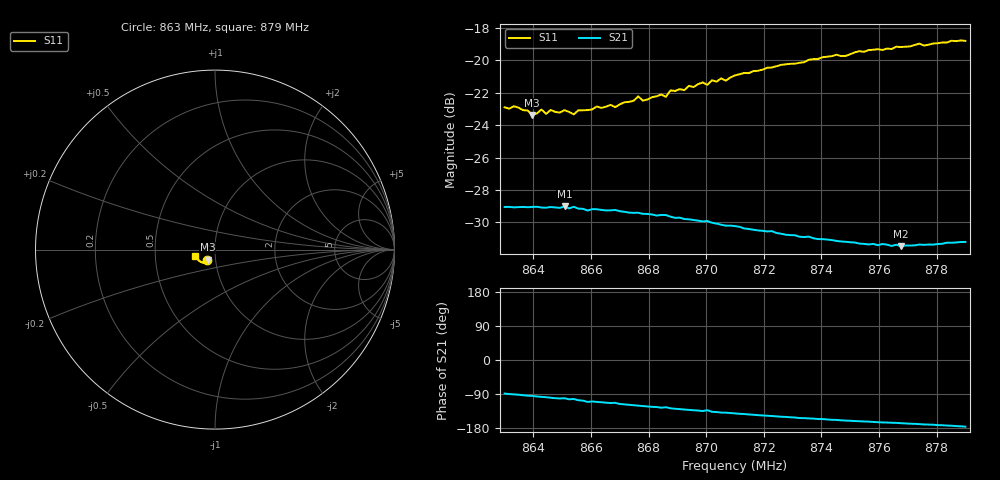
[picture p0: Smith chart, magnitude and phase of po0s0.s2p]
# HZ S RI R 50
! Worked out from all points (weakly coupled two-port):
!   101 points, 863 MHz to 879 MHz, reference 50 ohm
!   highest |S21| = -29.01 dB at 865.08 MHz (marker M1); lowest = -31.5 dB at 876.76 MHz (marker M2)
!   lowest |S11| = -23.4 dB at 863.96 MHz (marker M3), VSWR 1.15, Z = 45.9 - j5.11 ohm
!   |S11| at or under -10 dB: start of sweep to end of sweep
!   S12 and S22 are empty: the file has one direction only
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8.63e8  -0.0426 -0.0576  0.000898 -0.0353  0 0  0 0
8.6332e8  -0.0424 -0.0585  -0.000458 -0.0352  0 0  0 0
8.6396e8  -0.0393 -0.0554  -0.00285 -0.0352  0 0  0 0
8.6428e8  -0.0386 -0.059  -0.00449 -0.0349  0 0  0 0
8.6444e8  -0.0379 -0.0569  -0.005 -0.0348  0 0  0 0
8.6508e8  -0.0365 -0.06  -0.00671 -0.0348  0 0  0 0
8.654e8  -0.0336 -0.0593  -0.00793 -0.0344  0 0  0 0
8.6572e8  -0.0358 -0.0604  -0.0103 -0.0333  0 0  0 0
8.6684e8  -0.0333 -0.0636  -0.0135 -0.0318  0 0  0 0
8.6764e8  -0.0394 -0.0667  -0.0172 -0.0292  0 0  0 0
8.678e8  -0.0374 -0.0652  -0.0176 -0.0286  0 0  0 0
8.6844e8  -0.0392 -0.068  -0.0196 -0.027  0 0  0 0
8.686e8  -0.0386 -0.0668  -0.0189 -0.0274  0 0  0 0
8.6876e8  -0.0406 -0.0699  -0.02 -0.0262  0 0  0 0
8.7004e8  -0.0436 -0.0719  -0.0216 -0.0235  0 0  0 0
8.7052e8  -0.0496 -0.0727  -0.0234 -0.0205  0 0  0 0
8.7068e8  -0.0484 -0.0718  -0.0233 -0.0203  0 0  0 0
8.71e8  -0.0522 -0.0732  -0.0239 -0.0194  0 0  0 0
8.7372e8  -0.0706 -0.0721  -0.0255 -0.0121  0 0  0 0
8.7644e8  -0.0917 -0.0579  -0.0259 -0.00664  0 0  0 0
8.7676e8  -0.0944 -0.0565  -0.026 -0.00611  0 0  0 0
8.79e8  -0.1088 -0.0368  -0.0274 -0.00197  0 0  0 0
